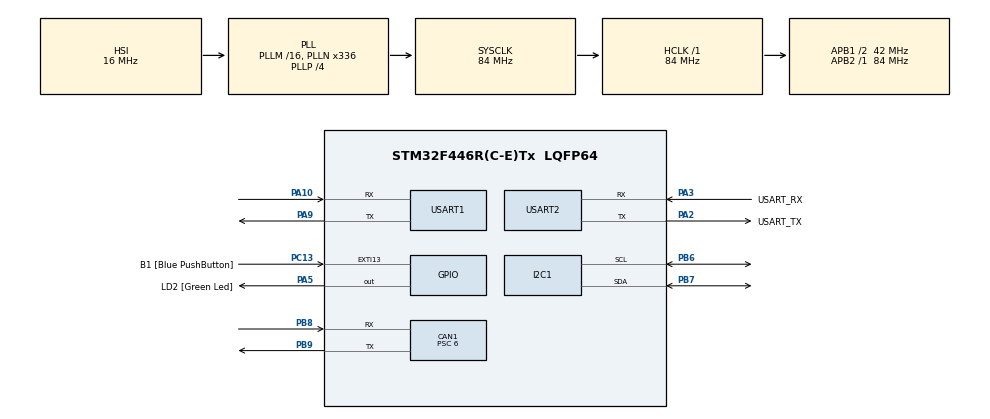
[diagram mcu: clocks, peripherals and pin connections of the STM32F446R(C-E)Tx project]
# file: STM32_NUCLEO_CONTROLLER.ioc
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CAN1.BS1=CAN_BS1_11TQ
CAN1.BS2=CAN_BS2_2TQ
CAN1.CalculateBaudRate=500000
CAN1.CalculateTimeBit=2000
CAN1.CalculateTimeQuantum=142.85714285714286
CAN1.Prescaler=6
Mcu.Family=STM32F4
Mcu.Name=STM32F446R(C-E)Tx
Mcu.Package=LQFP64
NVIC.PriorityGroup=NVIC_PRIORITYGROUP_0
NVIC.USART1_IRQn=true\:0\:0\:false\:false\:true\:true\:true\:true
NVIC.USART2_IRQn=true\:0\:0\:false\:false\:true\:true\:true\:true
PA10.Mode=Asynchronous
PA10.Signal=USART1_RX
PA13.GPIO_Label=TMS
PA13.Mode=Serial_Wire
PA13.Signal=SYS_JTMS-SWDIO
PA14.GPIO_Label=TCK
PA14.Mode=Serial_Wire
PA14.Signal=SYS_JTCK-SWCLK
PA2.GPIO_Label=USART_TX
PA2.Mode=Asynchronous
PA2.Signal=USART2_TX
PA3.GPIO_Label=USART_RX
PA3.Mode=Asynchronous
PA3.Signal=USART2_RX
PA5.GPIO_Label=LD2 [Green Led]
PA5.Signal=GPIO_Output
PA9.Mode=Asynchronous
PA9.Signal=USART1_TX
PB3.GPIO_Label=SWO
PB3.Signal=SYS_JTDO-SWO
PB6.Mode=I2C
PB6.Signal=I2C1_SCL
PB7.Mode=I2C
PB7.Signal=I2C1_SDA
PB8.Mode=CAN_Activate
PB8.Signal=CAN1_RX
PB9.Mode=CAN_Activate
PB9.Signal=CAN1_TX
PC13.GPIO_Label=B1 [Blue PushButton]
PC13.GPIO_ModeDefaultEXTI=GPIO_MODE_IT_FALLING
PC13.Signal=GPXTI13
PC14-OSC32_IN.Mode=LSE-External-Oscillator
PC14-OSC32_IN.Signal=RCC_OSC32_IN
PC15-OSC32_OUT.Mode=LSE-External-Oscillator
PC15-OSC32_OUT.Signal=RCC_OSC32_OUT
PH0-OSC_IN.Mode=HSE-External-Oscillator
PH0-OSC_IN.Signal=RCC_OSC_IN
PH1-OSC_OUT.Mode=HSE-External-Oscillator
PH1-OSC_OUT.Signal=RCC_OSC_OUT
ProjectManager.HeapSize=0x200
ProjectManager.StackSize=0x400
ProjectManager.TargetToolchain=STM32CubeIDE
RCC.48MHZClocksFreq_Value=84000000
RCC.AHBFreq_Value=84000000
RCC.APB1CLKDivider=RCC_HCLK_DIV2
RCC.APB1Freq_Value=42000000
RCC.APB1TimFreq_Value=84000000
RCC.APB2Freq_Value=84000000
RCC.APB2TimFreq_Value=84000000
RCC.CortexFreq_Value=84000000
RCC.FLatency-AdvancedSettings=FLASH_LATENCY_2
RCC.HCLKFreq_Value=84000000
RCC.HSE_VALUE=8000000
RCC.HSI_VALUE=16000000
RCC.PLLN=336
RCC.PLLP=RCC_PLLP_DIV4
RCC.SYSCLKFreq_VALUE=84000000
RCC.SYSCLKSource=RCC_SYSCLKSOURCE_PLLCLK
RCC.USBFreq_Value=168000000
RCC.VCOOutputFreq_Value=336000000
USART1.VirtualMode=VM_ASYNC
USART2.VirtualMode=VM_ASYNC
board=NUCLEO-F446RE

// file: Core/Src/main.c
/* USER CODE BEGIN Header */
/**
 ******************************************************************************
 * @file           : main.c
 * @brief          : Main program body
 ******************************************************************************
 * @attention
 *
 * Copyright (c) 2025 STMicroelectronics.
 * All rights reserved.
 *
 * This software is licensed under terms that can be found in the LICENSE file
 * in the root directory of this software component.
 * If no LICENSE file comes with this software, it is provided AS-IS.
 *
 ******************************************************************************
 */
/* USER CODE END Header */
#include "main.h"

/* USER CODE BEGIN Includes */
#include "bmp280.h"
#include "mpu9250.h"
#include "sensors_app.h"
#include "rpi_protocol.h"
#include "stepper_can.h"
#include "valve_control.h"
#include <stdio.h>
#include <stdint.h>
#include <string.h>
#include <stdlib.h>
/* USER CODE END Includes */

CAN_HandleTypeDef hcan1;

I2C_HandleTypeDef hi2c1;

UART_HandleTypeDef huart1;
UART_HandleTypeDef huart2;

/* USER CODE BEGIN PV */
static uint8_t uart1_rx_byte;

/* USER CODE END PV */

void SystemClock_Config(void);
static void MX_GPIO_Init(void);
static void MX_USART2_UART_Init(void);
static void MX_CAN1_Init(void);
static void MX_I2C1_Init(void);
static void MX_USART1_UART_Init(void);

int main(void)
{

	/* MCU Configuration--------------------------------------------------------*/

	/* Reset of all peripherals, Initializes the Flash interface and the Systick. */
	HAL_Init();

	/* Configure the system clock */
	SystemClock_Config();

	/* Initialize all configured peripherals */
	MX_GPIO_Init();
	MX_USART2_UART_Init();
	MX_CAN1_Init();
	MX_I2C1_Init();
	MX_USART1_UART_Init();
	/* USER CODE BEGIN 2 */

	/* Capteurs */
	(void)SensorsApp_Init(&hi2c1);

	printf("\r\n=== Init CAN (500 kbit/s) ===\r\n");

	if (StepperCAN_Init(&hcan1) != HAL_OK)
	{
		printf("Erreur init CAN\r\n");
	}
	else
	{
		StepperCAN_SetBaseId(STEPPER_CAN_BASE_0x60);

		/* IMPORTANT :
		 * Réinitialisation de la position moteur au démarrage
		 */
		StepperCAN_SetZero();
		HAL_Delay(200);  /* laisse le temps à la carte moteur */

		printf("CAN OK - Position moteur remise à zero\r\n");
	}

	/* Protocole Raspberry (UART1) */
	RpiProto_Init(&huart1, SensorsApp_GetState());

	ValveControl_Init();

	/* USER CODE END 2 */

	/* Infinite loop */
	/* USER CODE BEGIN WHILE */
	while (1)
	{
		const sensors_state_t *st = SensorsApp_GetState();

		SensorsApp_Update();
		RpiProto_Task();

		/* Contrôle vanne selon T et K */
		ValveControl_Update(st->temp_centi, RpiProto_GetK_centi());

		HAL_Delay(50);

		/* USER CODE END WHILE */

	}
}

void SystemClock_Config(void)
{
	RCC_OscInitTypeDef RCC_OscInitStruct = {0};
	RCC_ClkInitTypeDef RCC_ClkInitStruct = {0};

	/** Configure the main internal regulator output voltage
	 */
	__HAL_RCC_PWR_CLK_ENABLE();
	__HAL_PWR_VOLTAGESCALING_CONFIG(PWR_REGULATOR_VOLTAGE_SCALE3);

	/** Initializes the RCC Oscillators according to the specified parameters
	 * in the RCC_OscInitTypeDef structure.
	 */
	RCC_OscInitStruct.OscillatorType = RCC_OSCILLATORTYPE_HSI;
	RCC_OscInitStruct.HSIState = RCC_HSI_ON;
	RCC_OscInitStruct.HSICalibrationValue = RCC_HSICALIBRATION_DEFAULT;
	RCC_OscInitStruct.PLL.PLLState = RCC_PLL_ON;
	RCC_OscInitStruct.PLL.PLLSource = RCC_PLLSOURCE_HSI;
	RCC_OscInitStruct.PLL.PLLM = 16;
	RCC_OscInitStruct.PLL.PLLN = 336;
	RCC_OscInitStruct.PLL.PLLP = RCC_PLLP_DIV4;
	RCC_OscInitStruct.PLL.PLLQ = 2;
	RCC_OscInitStruct.PLL.PLLR = 2;
	if (HAL_RCC_OscConfig(&RCC_OscInitStruct) != HAL_OK)
	{
		Error_Handler();
	}

	/** Initializes the CPU, AHB and APB buses clocks
	 */
	RCC_ClkInitStruct.ClockType = RCC_CLOCKTYPE_HCLK|RCC_CLOCKTYPE_SYSCLK
			|RCC_CLOCKTYPE_PCLK1|RCC_CLOCKTYPE_PCLK2;
	RCC_ClkInitStruct.SYSCLKSource = RCC_SYSCLKSOURCE_PLLCLK;
	RCC_ClkInitStruct.AHBCLKDivider = RCC_SYSCLK_DIV1;
	RCC_ClkInitStruct.APB1CLKDivider = RCC_HCLK_DIV2;
	RCC_ClkInitStruct.APB2CLKDivider = RCC_HCLK_DIV1;

	if (HAL_RCC_ClockConfig(&RCC_ClkInitStruct, FLASH_LATENCY_2) != HAL_OK)
	{
		Error_Handler();
	}
}

static void MX_CAN1_Init(void)
{

	hcan1.Instance = CAN1;
	hcan1.Init.Prescaler = 6;
	hcan1.Init.Mode = CAN_MODE_NORMAL;
	hcan1.Init.SyncJumpWidth = CAN_SJW_1TQ;
	hcan1.Init.TimeSeg1 = CAN_BS1_11TQ;
	hcan1.Init.TimeSeg2 = CAN_BS2_2TQ;
	hcan1.Init.TimeTriggeredMode = DISABLE;
	hcan1.Init.AutoBusOff = DISABLE;
	hcan1.Init.AutoWakeUp = DISABLE;
	hcan1.Init.AutoRetransmission = DISABLE;
	hcan1.Init.ReceiveFifoLocked = DISABLE;
	hcan1.Init.TransmitFifoPriority = DISABLE;
	if (HAL_CAN_Init(&hcan1) != HAL_OK)
	{
		Error_Handler();
	}

}

static void MX_I2C1_Init(void)
{

	hi2c1.Instance = I2C1;
	hi2c1.Init.ClockSpeed = 100000;
	hi2c1.Init.DutyCycle = I2C_DUTYCYCLE_2;
	hi2c1.Init.OwnAddress1 = 0;
	hi2c1.Init.AddressingMode = I2C_ADDRESSINGMODE_7BIT;
	hi2c1.Init.DualAddressMode = I2C_DUALADDRESS_DISABLE;
	hi2c1.Init.OwnAddress2 = 0;
	hi2c1.Init.GeneralCallMode = I2C_GENERALCALL_DISABLE;
	hi2c1.Init.NoStretchMode = I2C_NOSTRETCH_DISABLE;
	if (HAL_I2C_Init(&hi2c1) != HAL_OK)
	{
		Error_Handler();
	}

}

static void MX_USART1_UART_Init(void)
{

	huart1.Instance = USART1;
	huart1.Init.BaudRate = 115200;
	huart1.Init.WordLength = UART_WORDLENGTH_8B;
	huart1.Init.StopBits = UART_STOPBITS_1;
	huart1.Init.Parity = UART_PARITY_NONE;
	huart1.Init.Mode = UART_MODE_TX_RX;
	huart1.Init.HwFlowCtl = UART_HWCONTROL_NONE;
	huart1.Init.OverSampling = UART_OVERSAMPLING_16;
	if (HAL_UART_Init(&huart1) != HAL_OK)
	{
		Error_Handler();
	}

}

static void MX_USART2_UART_Init(void)
{

	huart2.Instance = USART2;
	huart2.Init.BaudRate = 115200;
	huart2.Init.WordLength = UART_WORDLENGTH_8B;
	huart2.Init.StopBits = UART_STOPBITS_1;
	huart2.Init.Parity = UART_PARITY_NONE;
	huart2.Init.Mode = UART_MODE_TX_RX;
	huart2.Init.HwFlowCtl = UART_HWCONTROL_NONE;
	huart2.Init.OverSampling = UART_OVERSAMPLING_16;
	if (HAL_UART_Init(&huart2) != HAL_OK)
	{
		Error_Handler();
	}

}

static void MX_GPIO_Init(void)
{
	GPIO_InitTypeDef GPIO_InitStruct = {0};

	/* GPIO Ports Clock Enable */
	__HAL_RCC_GPIOC_CLK_ENABLE();
	__HAL_RCC_GPIOH_CLK_ENABLE();
	__HAL_RCC_GPIOA_CLK_ENABLE();
	__HAL_RCC_GPIOB_CLK_ENABLE();

	/*Configure GPIO pin Output Level */
	HAL_GPIO_WritePin(LD2_GPIO_Port, LD2_Pin, GPIO_PIN_RESET);

	/*Configure GPIO pin : B1_Pin */
	GPIO_InitStruct.Pin = B1_Pin;
	GPIO_InitStruct.Mode = GPIO_MODE_IT_FALLING;
	GPIO_InitStruct.Pull = GPIO_NOPULL;
	HAL_GPIO_Init(B1_GPIO_Port, &GPIO_InitStruct);

	/*Configure GPIO pin : LD2_Pin */
	GPIO_InitStruct.Pin = LD2_Pin;
	GPIO_InitStruct.Mode = GPIO_MODE_OUTPUT_PP;
	GPIO_InitStruct.Pull = GPIO_NOPULL;
	GPIO_InitStruct.Speed = GPIO_SPEED_FREQ_LOW;
	HAL_GPIO_Init(LD2_GPIO_Port, &GPIO_InitStruct);

}

/* USER CODE BEGIN 4 */
void HAL_UART_RxCpltCallback(UART_HandleTypeDef *huart)
{
	if (huart->Instance == USART1)
	{
		RpiProto_OnRxByte(uart1_rx_byte);
		HAL_UART_Receive_IT(&huart1, &uart1_rx_byte, 1);
	}
}

/* USER CODE END 4 */

void Error_Handler(void)
{
	__disable_irq();
	while (1)
	{
	}
}
